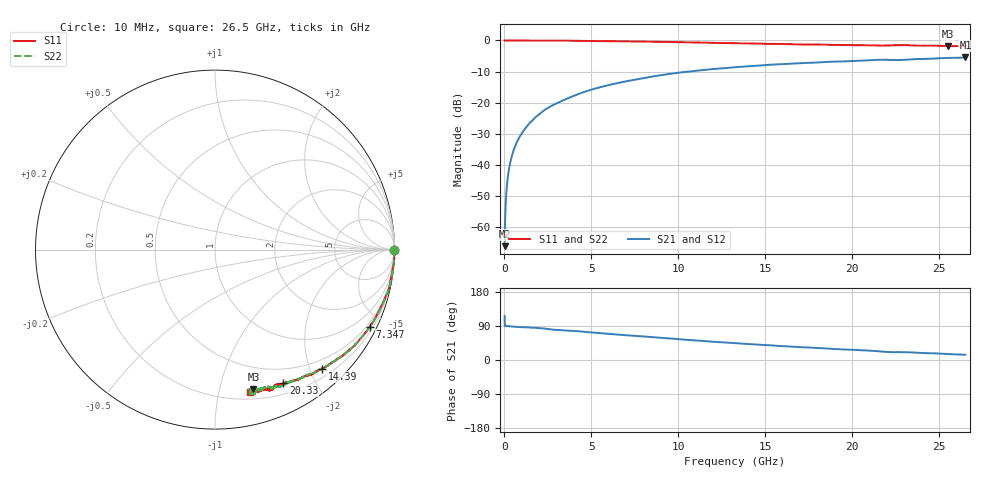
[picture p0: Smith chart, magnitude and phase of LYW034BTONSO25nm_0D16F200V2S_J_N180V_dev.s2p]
!Keysight Technologies,N5222B,MY61253708,A.15.00.15
!Date: Wednesday, June 19, 2024 10:30:46
!Correction: S11(C  2-Port  )
!S21(C  2-Port  )
!S12(C  2-Port  )
!S22(C  2-Port  )
!S2P File: Measurements: S11, S21, S12, S22:
# Hz S  RI  R 50
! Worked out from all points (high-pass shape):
!   2651 points, 10 MHz to 26.5 GHz, reference 50 ohm
!   highest |S21| = -5.46 dB at 26.5 GHz (marker M1); lowest = -66.2 dB at 10 MHz (marker M2)
!   |S21| within 3 dB of the highest: 13.63414 GHz to 13.67117 GHz (37.03 MHz wide, 0.271 % of centre); 13.69 GHz to end of sweep
!   lowest |S11| = -1.9 dB at 25.5 GHz (marker M3), VSWR 9.34, Z = 14.3 - j63.6 ohm
!   |S11| at or under -10 dB: nowhere
!   |S22| runs from -1.8 to 0.0 dB; largest |S21 - S12| = 0.0069
!   S11 on the Smith chart (normalised r, x): 10 MHz: open; 7.347 GHz: 0.35, -4.23; 14.39 GHz: 0.34, -2.20; 20.33 GHz: 0.32, -1.59; 26.5 GHz: 0.26, -1.24
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1e7  0.9983 -0.00302  -0.000216 0.000437  0.000251 0.000105  0.9981 -0.00196
7.997358e7  1 -0.0056  -2.41e-05 0.00257  -1.15e-05 0.00256  0.9993 -0.00524
1.599434e8  1 -0.0111  4.88e-05 0.00518  4.69e-05 0.00517  0.9996 -0.0105
1.999283e8  1 -0.0133  4.98e-05 0.00647  5.15e-05 0.00647  0.9997 -0.0126
2.599057e8  0.9998 -0.0173  0.000142 0.00843  0.000142 0.00841  0.9996 -0.0165
3.598679e8  0.9997 -0.0242  0.000308 0.0117  0.000285 0.0117  0.9995 -0.0234
4.898189e8  0.9985 -0.0324  0.00051 0.0158  0.000516 0.0158  0.9988 -0.0313
8.296906e8  0.9978 -0.0541  0.00143 0.0266  0.0014 0.0267  0.998 -0.0535
1.449457e9  0.991 -0.0954  0.00328 0.0468  0.00333 0.0468  0.9934 -0.0921
2.339121e9  0.9824 -0.1494  0.00954 0.0764  0.00967 0.0765  0.9836 -0.1495
3.208792e9  0.9726 -0.2036  0.0201 0.1017  0.0202 0.1019  0.9725 -0.203
4.428332e9  0.9451 -0.2756  0.0367 0.1386  0.0368 0.1389  0.9468 -0.273
5.767826e9  0.9108 -0.3467  0.0636 0.1735  0.0642 0.1738  0.9128 -0.3465
7.34723e9  0.8633 -0.4286  0.1 0.207  0.1008 0.2072  0.8644 -0.4277
8.846664e9  0.8105 -0.4959  0.1399 0.2333  0.1407 0.2333  0.8119 -0.4947
1.3255e10  0.6389 -0.6378  0.2645 0.2595  0.266 0.2589  0.642 -0.637
1.439457e10  0.5958 -0.6638  0.2934 0.2567  0.2951 0.2563  0.5987 -0.6608
1.767333e10  0.4693 -0.7206  0.3701 0.2345  0.3727 0.2328  0.4786 -0.7184
2.033233e10  0.3812 -0.7451  0.4232 0.2079  0.4241 0.2046  0.3939 -0.7451
2.209166e10  0.3344 -0.757  0.4537 0.1748  0.4548 0.172  0.3271 -0.7631
2.550038e10  0.2144 -0.7775  0.5039 0.1395  0.5047 0.1394  0.2342 -0.7796
2.65e10  0.1952 -0.7924  0.5175 0.1287  0.5162 0.1249  0.2076 -0.79
